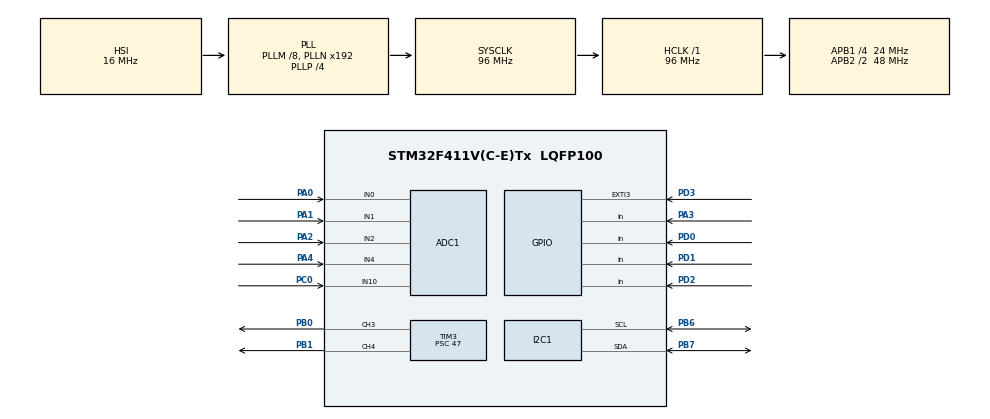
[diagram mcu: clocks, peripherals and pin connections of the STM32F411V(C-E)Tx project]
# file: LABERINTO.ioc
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ADC1.Channel-0\#ChannelRegularConversion=ADC_CHANNEL_1
ADC1.Channel-1\#ChannelRegularConversion=ADC_CHANNEL_2
ADC1.Channel-2\#ChannelRegularConversion=ADC_CHANNEL_4
ADC1.Channel-3\#ChannelRegularConversion=ADC_CHANNEL_10
ADC1.Channel-4\#ChannelRegularConversion=ADC_CHANNEL_0
ADC1.NbrOfConversion=5
ADC1.NbrOfConversionFlag=1
ADC1.Rank-0\#ChannelRegularConversion=1
ADC1.Rank-1\#ChannelRegularConversion=2
ADC1.Rank-2\#ChannelRegularConversion=3
ADC1.Rank-3\#ChannelRegularConversion=4
ADC1.Rank-4\#ChannelRegularConversion=5
ADC1.SamplingTime-0\#ChannelRegularConversion=ADC_SAMPLETIME_84CYCLES
ADC1.SamplingTime-1\#ChannelRegularConversion=ADC_SAMPLETIME_84CYCLES
ADC1.SamplingTime-2\#ChannelRegularConversion=ADC_SAMPLETIME_84CYCLES
ADC1.SamplingTime-3\#ChannelRegularConversion=ADC_SAMPLETIME_84CYCLES
ADC1.SamplingTime-4\#ChannelRegularConversion=ADC_SAMPLETIME_3CYCLES
ADC1.master=1
I2C1.I2C_Mode=I2C_Fast
Mcu.Family=STM32F4
Mcu.Name=STM32F411V(C-E)Tx
Mcu.Package=LQFP100
NVIC.EXTI3_IRQn=true\:0\:0\:false\:false\:true\:true\:true\:true
NVIC.PriorityGroup=NVIC_PRIORITYGROUP_0
PA0-WKUP.Signal=ADCx_IN0
PA1.Signal=ADCx_IN1
PA2.Signal=ADCx_IN2
PA3.Signal=GPIO_Input
PA4.Signal=ADCx_IN4
PB0.Signal=S_TIM3_CH3
PB1.Signal=S_TIM3_CH4
PB6.GPIO_Pu=GPIO_PULLUP
PB6.Mode=I2C
PB6.Signal=I2C1_SCL
PB7.GPIO_Pu=GPIO_PULLUP
PB7.Mode=I2C
PB7.Signal=I2C1_SDA
PC0.Signal=ADCx_IN10
PD0.GPIO_PuPd=GPIO_PULLUP
PD0.Signal=GPIO_Input
PD1.GPIO_PuPd=GPIO_PULLUP
PD1.Signal=GPIO_Input
PD2.GPIO_PuPd=GPIO_PULLUP
PD2.Signal=GPIO_Input
PD3.GPIO_PuPd=GPIO_PULLDOWN
PD3.Signal=GPXTI3
ProjectManager.HeapSize=0x200
ProjectManager.StackSize=0x400
ProjectManager.TargetToolchain=STM32CubeIDE
RCC.48MHZClocksFreq_Value=48000000
RCC.AHBFreq_Value=96000000
RCC.APB1CLKDivider=RCC_HCLK_DIV4
RCC.APB1Freq_Value=24000000
RCC.APB1TimFreq_Value=48000000
RCC.APB2CLKDivider=RCC_HCLK_DIV2
RCC.APB2Freq_Value=48000000
RCC.APB2TimFreq_Value=96000000
RCC.CortexFreq_Value=96000000
RCC.HCLKFreq_Value=96000000
RCC.HSE_VALUE=8000000
RCC.HSI_VALUE=16000000
RCC.LSE_VALUE=32768
RCC.PLLI2SM=5
RCC.PLLI2SN=200
RCC.PLLM=8
RCC.PLLP=RCC_PLLP_DIV4
RCC.PLLQ=8
RCC.SYSCLKFreq_VALUE=96000000
RCC.SYSCLKSource=RCC_SYSCLKSOURCE_PLLCLK
RCC.VCOOutputFreq_Value=384000000
SH.ADCx_IN0.0=ADC1_IN0,IN0
SH.ADCx_IN1.0=ADC1_IN1,IN1
SH.ADCx_IN10.0=ADC1_IN10,IN10
SH.ADCx_IN2.0=ADC1_IN2,IN2
SH.ADCx_IN4.0=ADC1_IN4,IN4
SH.S_TIM3_CH3.0=TIM3_CH3,PWM Generation3 CH3
SH.S_TIM3_CH4.0=TIM3_CH4,PWM Generation4 CH4
TIM3.Channel-PWM\ Generation3\ CH3=TIM_CHANNEL_3
TIM3.Channel-PWM\ Generation4\ CH4=TIM_CHANNEL_4
TIM3.Period=19999
TIM3.Prescaler=47
TIM3.Pulse-PWM\ Generation3\ CH3=0
TIM3.Pulse-PWM\ Generation4\ CH4=500
VP_TIM3_VS_ClockSourceINT.Mode=Internal
board=STM32F411E-DISCO

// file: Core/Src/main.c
/* USER CODE BEGIN Header */
/**
  **************************
  * @file           : main.c
  * @brief          : Main program body
  **************************
  * @attention
  *
  * Copyright (c) 2026 STMicroelectronics.
  * All rights reserved.
  *
  * This software is licensed under terms that can be found in the LICENSE file
  * in the root directory of this software component.
  * If no LICENSE file comes with this software, it is provided AS-IS.
  *
  **************************
  */
/* USER CODE END Header */
#include "main.h"

/* USER CODE BEGIN Includes */
#include "ssd1306.h"
#include "fonts.h"
#include <stdio.h>
/* USER CODE END Includes */

ADC_HandleTypeDef hadc1;

I2C_HandleTypeDef hi2c1;

TIM_HandleTypeDef htim3;

/* USER CODE BEGIN PV */
// --- VARIABLES DE HARDWARE ---
uint32_t val_joyX = 0;
uint32_t val_joyY = 0;
uint32_t val_LDR_Inicio = 0;
uint32_t val_LDR_Fin = 0;
uint32_t val_LDR_Perder = 0;
volatile uint8_t flag_reset = 0; //Para la interrupción

// --- VARIABLES DEL JUEGO ---
// Definimos los nombres de los estados
typedef enum {
    ESTADO_INTRO,       // Pantalla "EL LABERINTO"
    ESTADO_SELECCION,   // Elegir "NORMAL" o "LOCO"
	ESTADO_PREPARACION, // AVISA QUE SE PONGA LA PELOTA Y NO EMPIZA LA CUENTA ATRÁS HASTA QUE LA DETECTE
    ESTADO_CUENTA,      // 3, 2, 1...
    ESTADO_JUGANDO,     // Mover servos y leer sensores
    ESTADO_GANADO,      // Pantalla Win
    ESTADO_PERDIDO      // Pantalla Game Over
} EstadoJuego;

EstadoJuego estadoActual = ESTADO_INTRO; // Empezamos en la intro

// Variables para el menú
int opcionMenu = 0;     // 0 = Normal, 1 = Loco
int modoJuego = 0;      // Guardará lo que hayamos elegido (0=Normal, 1=Loco)
/* USER CODE END PV */

void SystemClock_Config(void);
static void MX_GPIO_Init(void);
static void MX_ADC1_Init(void);
static void MX_I2C1_Init(void);
static void MX_TIM3_Init(void);

/* USER CODE BEGIN 0 */
void HAL_GPIO_EXTI_Callback(uint16_t GPIO_Pin)
{
  if (GPIO_Pin == GPIO_PIN_3) // PD3
  {
    flag_reset = 1;
  }
}

/* USER CODE END 0 */

int main(void)
{

  /* MCU Configuration--------------------------------------------------------*/

  /* Reset of all peripherals, Initializes the Flash interface and the Systick. */
  HAL_Init();

  /* Configure the system clock */
  SystemClock_Config();

  /* Initialize all configured peripherals */
  MX_GPIO_Init();
  MX_ADC1_Init();
  MX_I2C1_Init();
  MX_TIM3_Init();
  /* USER CODE BEGIN 2 */
  /*
  //Se ha metido en el estado de inicio, porque tiene mas sentido
  __HAL_TIM_SET_COMPARE(&htim3, TIM_CHANNEL_3, 1390);
  __HAL_TIM_SET_COMPARE(&htim3, TIM_CHANNEL_4, 1220);
  HAL_Delay(100);*/
  HAL_TIM_PWM_Start(&htim3, TIM_CHANNEL_3); // Arranca Servo X
  HAL_TIM_PWM_Start(&htim3, TIM_CHANNEL_4); // Arranca Servo Y
  HAL_ADC_Start(&hadc1);

    // Iniciar Pantalla
  ssd1306_Init();
  ssd1306_Fill(Black);
  ssd1306_UpdateScreen();

  /* USER CODE END 2 */

  /* Infinite loop */
  while (1)
  {

    /* USER CODE BEGIN 3 */
	  //RESETEO DEL PROGRAMA
	  if (flag_reset)
	  	  {
	 	  	  flag_reset = 0;
	 	  	  estadoActual = ESTADO_INTRO;
	 	  	  opcionMenu = 0;
	 	  	  modoJuego = 0;
	 	  	  HAL_Delay(500);
	 	  	  continue;
	 	  }
	  switch (estadoActual) {

	      // ============================================================
	      // 1. PANTALLA DE TÍTULO (DISEÑO FINAL)
	      // ============================================================
	      case ESTADO_INTRO:
	           ssd1306_Fill(Black);

	           //Centrar motores
	           __HAL_TIM_SET_COMPARE(&htim3, TIM_CHANNEL_3, 1390);
	           __HAL_TIM_SET_COMPARE(&htim3, TIM_CHANNEL_4, 1220);
	           HAL_Delay(100);

	           // "EL" centrado arriba
	           ssd1306_SetCursor(50, 5);
	           ssd1306_WriteString("EL", Font_11x18, White);

	           // "LABERINTO" centrado en medio
	           ssd1306_SetCursor(15, 25);
	           ssd1306_WriteString("LABERINTO", Font_11x18, White);

	           // Instrucción abajo
	           ssd1306_SetCursor(30, 50);
	           ssd1306_WriteString("dale a OK", Font_7x10, White);

	           ssd1306_UpdateScreen();

	           // Esperar al Botón A (PD0) para empezar
	           if (HAL_GPIO_ReadPin(GPIOD, GPIO_PIN_0) == GPIO_PIN_RESET) {
	                estadoActual = ESTADO_SELECCION;
	                HAL_Delay(500); // Pequeña espera para no pulsar dos veces sin querer
	           }
	           break;

		  // ============================================================
		  // 2. SELECCIÓN DE NIVEL (Normal vs Loco)
		  // ============================================================
		  case ESTADO_SELECCION:
			  ssd1306_Fill(Black);
			  ssd1306_SetCursor(20, 5);
			  ssd1306_WriteString("ELIGE MODO:", Font_7x10, White);

			  ssd1306_SetCursor(30, 25);
			  ssd1306_WriteString("NIVEL NORMAL", Font_7x10, White);

			  ssd1306_SetCursor(30, 45);
			  ssd1306_WriteString("NIVEL LOOOCO", Font_7x10, White);

			  // Dibujar la flecha >
			  if (opcionMenu == 0) {
				  ssd1306_SetCursor(15, 25);
				  ssd1306_WriteString(">", Font_7x10, White);
			  } else {
				  ssd1306_SetCursor(15, 45);
				  ssd1306_WriteString(">", Font_7x10, White);
			  }
			  ssd1306_UpdateScreen();

			  // Botones B (Arriba) y C (Abajo)
			  if (HAL_GPIO_ReadPin(GPIOD, GPIO_PIN_1) == GPIO_PIN_RESET) opcionMenu = 0; // Normal
			  if (HAL_GPIO_ReadPin(GPIOD, GPIO_PIN_2) == GPIO_PIN_RESET) opcionMenu = 1; // Loco

			  // Botón A (Confirmar)
			  if (HAL_GPIO_ReadPin(GPIOD, GPIO_PIN_0) == GPIO_PIN_RESET) {
				  modoJuego = opcionMenu; // Guardamos la elección (0 o 1)
				  estadoActual = ESTADO_PREPARACION;
				  HAL_Delay(300);
			  }
			  break;

     	 // ============================================================
		 // 3.1. PREPARACIÓN
		 // ============================================================

		  case ESTADO_PREPARACION:
			  ssd1306_Fill(Black);
			  ssd1306_SetCursor(30, 5);
			  ssd1306_WriteString("PONER", Font_16x26, White);
			  ssd1306_UpdateScreen();
			  HAL_Delay(800);

			  ssd1306_Fill(Black);
			  ssd1306_SetCursor(15, 25);
			  ssd1306_WriteString("PELOTA", Font_16x26, White);
			  ssd1306_UpdateScreen();
			  HAL_Delay(800);
			  HAL_ADC_Start(&hadc1);
			  HAL_ADC_PollForConversion(&hadc1, 10);
			  HAL_ADC_PollForConversion(&hadc1, 10);

			  if (HAL_ADC_PollForConversion(&hadc1, 100) == HAL_OK) val_LDR_Inicio = HAL_ADC_GetValue(&hadc1);
			  HAL_ADC_Stop(&hadc1);
			  if(val_LDR_Inicio  < 200){
			  estadoActual=ESTADO_CUENTA;
			  HAL_Delay(3000);
			  }
			  HAL_ADC_Stop(&hadc1);
			  break;
		  // ============================================================
		  // 3. CUENTA ATRÁS DRAMÁTICA
		  // ============================================================
		  case ESTADO_CUENTA:
			  ssd1306_Fill(Black);
			  ssd1306_SetCursor(40, 20);
			  ssd1306_WriteString("3...", Font_16x26, White);
			  ssd1306_UpdateScreen();
			  HAL_Delay(800);

			  ssd1306_Fill(Black);
			  ssd1306_SetCursor(40, 20);
			  ssd1306_WriteString("2...", Font_16x26, White);
			  ssd1306_UpdateScreen();
			  HAL_Delay(800);

			  ssd1306_Fill(Black);
			  ssd1306_SetCursor(40, 20);
			  ssd1306_WriteString("1...", Font_16x26, White);
			  ssd1306_UpdateScreen();
			  HAL_Delay(800);

			  ssd1306_Fill(Black);
			  ssd1306_SetCursor(50, 5);
			  ssd1306_WriteString("NO TE", Font_11x18, White);
			  ssd1306_SetCursor(15, 25);
			  ssd1306_WriteString("CAIGAAAAS!!!", Font_11x18, White);
			  ssd1306_UpdateScreen();
			  HAL_Delay(1000);

			  estadoActual = ESTADO_JUGANDO;
			  break;

		  /// ============================================================
		  // 4. JUEGO REAL (LÓGICA < 200)
		  // ============================================================
		  case ESTADO_JUGANDO:
			  // --- 1. LEER LOS 5 CANALES DEL ADC EN ORDEN ---
			  HAL_ADC_Start(&hadc1);
			  // Leemos uno a uno
			  if (HAL_ADC_PollForConversion(&hadc1, 100) == HAL_OK) val_joyX = HAL_ADC_GetValue(&hadc1);
			  if (HAL_ADC_PollForConversion(&hadc1, 100) == HAL_OK) val_joyY = HAL_ADC_GetValue(&hadc1);
			  if (HAL_ADC_PollForConversion(&hadc1, 100) == HAL_OK) val_LDR_Inicio = HAL_ADC_GetValue(&hadc1);
			  if (HAL_ADC_PollForConversion(&hadc1, 100) == HAL_OK) val_LDR_Fin = HAL_ADC_GetValue(&hadc1);
			  if (HAL_ADC_PollForConversion(&hadc1, 100) == HAL_OK) val_LDR_Perder = HAL_ADC_GetValue(&hadc1);
			  HAL_ADC_Stop(&hadc1);

			  // --- 2. COMPROBAR VICTORIA / DERROTA ---

			  if (val_LDR_Fin < 200) {
				  estadoActual = ESTADO_GANADO;
			  }

			  if (val_LDR_Perder < 200) {
				  estadoActual = ESTADO_PERDIDO;
			  }

			  // --- 3. MOVER SERVOS (NORMAL vs LOCO) ---
			  if (modoJuego == 1) {
				  // MODO LOCO: Invertimos matemáticas (4095 - valor)
				  val_joyX = 4095 - val_joyX;
				  val_joyY = 4095 - val_joyY;
			  }

			  // Movimiento de los servos segun el joystick
			  uint32_t pulsoX = 1120 + (val_joyX * 390) / 4095;
			  uint32_t pulsoY = 1100 + ((4095-val_joyY) * 290) / 4095;

			  __HAL_TIM_SET_COMPARE(&htim3, TIM_CHANNEL_3, pulsoX);
			  __HAL_TIM_SET_COMPARE(&htim3, TIM_CHANNEL_4, pulsoY);

			  break;

		  // ============================================================
		  // 5. FIN DEL JUEGO
		  // ============================================================
		  case ESTADO_GANADO:
			  ssd1306_Fill(Black);
			  ssd1306_SetCursor(10, 10);
			  ssd1306_WriteString("VICTORIA!!", Font_11x18, White);

			  ssd1306_SetCursor(30, 35);
			  ssd1306_WriteString("Pulsa OK", Font_7x10, White);
			  ssd1306_SetCursor(25, 48);
			  ssd1306_WriteString("para Menu", Font_7x10, White);
			  ssd1306_UpdateScreen();

			  // Botón A para volver
			  if (HAL_GPIO_ReadPin(GPIOD, GPIO_PIN_0) == GPIO_PIN_RESET) {
				  estadoActual = ESTADO_INTRO;
				  HAL_Delay(500);
			  }
			  break;

		  case ESTADO_PERDIDO:
			  ssd1306_Fill(Black);
			  ssd1306_SetCursor(15, 10);
			  ssd1306_WriteString("GAME OVER", Font_11x18, White);

			  ssd1306_SetCursor(15, 35);
			  ssd1306_WriteString("Pulsa OK", Font_7x10, White);
			  ssd1306_SetCursor(25, 48);
			  ssd1306_WriteString("para Menu", Font_7x10, White);
			  ssd1306_UpdateScreen();

			  // Botón A para volver
			  if (HAL_GPIO_ReadPin(GPIOD, GPIO_PIN_0) == GPIO_PIN_RESET) {
				  estadoActual = ESTADO_INTRO;
				  HAL_Delay(500);
			  }
			  break;
	  }
  }
  /* USER CODE END 3 */
}

void SystemClock_Config(void)
{
  RCC_OscInitTypeDef RCC_OscInitStruct = {0};
  RCC_ClkInitTypeDef RCC_ClkInitStruct = {0};

  /** Configure the main internal regulator output voltage
  */
  __HAL_RCC_PWR_CLK_ENABLE();
  __HAL_PWR_VOLTAGESCALING_CONFIG(PWR_REGULATOR_VOLTAGE_SCALE1);

  /** Initializes the RCC Oscillators according to the specified parameters
  * in the RCC_OscInitTypeDef structure.
  */
  RCC_OscInitStruct.OscillatorType = RCC_OSCILLATORTYPE_HSI;
  RCC_OscInitStruct.HSIState = RCC_HSI_ON;
  RCC_OscInitStruct.HSICalibrationValue = RCC_HSICALIBRATION_DEFAULT;
  RCC_OscInitStruct.PLL.PLLState = RCC_PLL_ON;
  RCC_OscInitStruct.PLL.PLLSource = RCC_PLLSOURCE_HSI;
  RCC_OscInitStruct.PLL.PLLM = 8;
  RCC_OscInitStruct.PLL.PLLN = 192;
  RCC_OscInitStruct.PLL.PLLP = RCC_PLLP_DIV4;
  RCC_OscInitStruct.PLL.PLLQ = 8;
  if (HAL_RCC_OscConfig(&RCC_OscInitStruct) != HAL_OK)
  {
    Error_Handler();
  }

  /** Initializes the CPU, AHB and APB buses clocks
  */
  RCC_ClkInitStruct.ClockType = RCC_CLOCKTYPE_HCLK|RCC_CLOCKTYPE_SYSCLK
                              |RCC_CLOCKTYPE_PCLK1|RCC_CLOCKTYPE_PCLK2;
  RCC_ClkInitStruct.SYSCLKSource = RCC_SYSCLKSOURCE_PLLCLK;
  RCC_ClkInitStruct.AHBCLKDivider = RCC_SYSCLK_DIV1;
  RCC_ClkInitStruct.APB1CLKDivider = RCC_HCLK_DIV4;
  RCC_ClkInitStruct.APB2CLKDivider = RCC_HCLK_DIV2;

  if (HAL_RCC_ClockConfig(&RCC_ClkInitStruct, FLASH_LATENCY_3) != HAL_OK)
  {
    Error_Handler();
  }
}

static void MX_ADC1_Init(void)
{

  ADC_ChannelConfTypeDef sConfig = {0};

  /** Configure the global features of the ADC (Clock, Resolution, Data Alignment and number of conversion)
  */
  hadc1.Instance = ADC1;
  hadc1.Init.ClockPrescaler = ADC_CLOCK_SYNC_PCLK_DIV2;
  hadc1.Init.Resolution = ADC_RESOLUTION_12B;
  hadc1.Init.ScanConvMode = ENABLE;
  hadc1.Init.ContinuousConvMode = DISABLE;
  hadc1.Init.DiscontinuousConvMode = DISABLE;
  hadc1.Init.ExternalTrigConvEdge = ADC_EXTERNALTRIGCONVEDGE_NONE;
  hadc1.Init.ExternalTrigConv = ADC_SOFTWARE_START;
  hadc1.Init.DataAlign = ADC_DATAALIGN_RIGHT;
  hadc1.Init.NbrOfConversion = 5;
  hadc1.Init.DMAContinuousRequests = DISABLE;
  hadc1.Init.EOCSelection = ADC_EOC_SINGLE_CONV;
  if (HAL_ADC_Init(&hadc1) != HAL_OK)
  {
    Error_Handler();
  }

  /** Configure for the selected ADC regular channel its corresponding rank in the sequencer and its sample time.
  */
  sConfig.Channel = ADC_CHANNEL_1;
  sConfig.Rank = 1;
  sConfig.SamplingTime = ADC_SAMPLETIME_84CYCLES;
  if (HAL_ADC_ConfigChannel(&hadc1, &sConfig) != HAL_OK)
  {
    Error_Handler();
  }

  /** Configure for the selected ADC regular channel its corresponding rank in the sequencer and its sample time.
  */
  sConfig.Channel = ADC_CHANNEL_2;
  sConfig.Rank = 2;
  if (HAL_ADC_ConfigChannel(&hadc1, &sConfig) != HAL_OK)
  {
    Error_Handler();
  }

  /** Configure for the selected ADC regular channel its corresponding rank in the sequencer and its sample time.
  */
  sConfig.Channel = ADC_CHANNEL_4;
  sConfig.Rank = 3;
  if (HAL_ADC_ConfigChannel(&hadc1, &sConfig) != HAL_OK)
  {
    Error_Handler();
  }

  /** Configure for the selected ADC regular channel its corresponding rank in the sequencer and its sample time.
  */
  sConfig.Channel = ADC_CHANNEL_10;
  sConfig.Rank = 4;
  if (HAL_ADC_ConfigChannel(&hadc1, &sConfig) != HAL_OK)
  {
    Error_Handler();
  }

  /** Configure for the selected ADC regular channel its corresponding rank in the sequencer and its sample time.
  */
  sConfig.Channel = ADC_CHANNEL_0;
  sConfig.Rank = 5;
  sConfig.SamplingTime = ADC_SAMPLETIME_3CYCLES;
  if (HAL_ADC_ConfigChannel(&hadc1, &sConfig) != HAL_OK)
  {
    Error_Handler();
  }
  /* USER CODE BEGIN ADC1_Init 2 */
  sConfig.Channel = ADC_CHANNEL_0;
  sConfig.Rank = 5;
  sConfig.SamplingTime = ADC_SAMPLETIME_84CYCLES;
  if (HAL_ADC_ConfigChannel(&hadc1, &sConfig) != HAL_OK)
  {
    Error_Handler();
  }
  /* USER CODE END ADC1_Init 2 */

}

static void MX_I2C1_Init(void)
{

  hi2c1.Instance = I2C1;
  hi2c1.Init.ClockSpeed = 400000;
  hi2c1.Init.DutyCycle = I2C_DUTYCYCLE_2;
  hi2c1.Init.OwnAddress1 = 0;
  hi2c1.Init.AddressingMode = I2C_ADDRESSINGMODE_7BIT;
  hi2c1.Init.DualAddressMode = I2C_DUALADDRESS_DISABLE;
  hi2c1.Init.OwnAddress2 = 0;
  hi2c1.Init.GeneralCallMode = I2C_GENERALCALL_DISABLE;
  hi2c1.Init.NoStretchMode = I2C_NOSTRETCH_DISABLE;
  if (HAL_I2C_Init(&hi2c1) != HAL_OK)
  {
    Error_Handler();
  }

}

static void MX_TIM3_Init(void)
{

  TIM_ClockConfigTypeDef sClockSourceConfig = {0};
  TIM_MasterConfigTypeDef sMasterConfig = {0};
  TIM_OC_InitTypeDef sConfigOC = {0};

  htim3.Instance = TIM3;
  htim3.Init.Prescaler = 47;
  htim3.Init.CounterMode = TIM_COUNTERMODE_UP;
  htim3.Init.Period = 19999;
  htim3.Init.ClockDivision = TIM_CLOCKDIVISION_DIV1;
  htim3.Init.AutoReloadPreload = TIM_AUTORELOAD_PRELOAD_DISABLE;
  if (HAL_TIM_Base_Init(&htim3) != HAL_OK)
  {
    Error_Handler();
  }
  sClockSourceConfig.ClockSource = TIM_CLOCKSOURCE_INTERNAL;
  if (HAL_TIM_ConfigClockSource(&htim3, &sClockSourceConfig) != HAL_OK)
  {
    Error_Handler();
  }
  if (HAL_TIM_PWM_Init(&htim3) != HAL_OK)
  {
    Error_Handler();
  }
  sMasterConfig.MasterOutputTrigger = TIM_TRGO_RESET;
  sMasterConfig.MasterSlaveMode = TIM_MASTERSLAVEMODE_DISABLE;
  if (HAL_TIMEx_MasterConfigSynchronization(&htim3, &sMasterConfig) != HAL_OK)
  {
    Error_Handler();
  }
  sConfigOC.OCMode = TIM_OCMODE_PWM1;
  sConfigOC.Pulse = 0;
  sConfigOC.OCPolarity = TIM_OCPOLARITY_HIGH;
  sConfigOC.OCFastMode = TIM_OCFAST_DISABLE;
  if (HAL_TIM_PWM_ConfigChannel(&htim3, &sConfigOC, TIM_CHANNEL_3) != HAL_OK)
  {
    Error_Handler();
  }
  sConfigOC.Pulse = 500;
  if (HAL_TIM_PWM_ConfigChannel(&htim3, &sConfigOC, TIM_CHANNEL_4) != HAL_OK)
  {
    Error_Handler();
  }
  HAL_TIM_MspPostInit(&htim3);

}

static void MX_GPIO_Init(void)
{
  GPIO_InitTypeDef GPIO_InitStruct = {0};

  /* GPIO Ports Clock Enable */
  __HAL_RCC_GPIOC_CLK_ENABLE();
  __HAL_RCC_GPIOA_CLK_ENABLE();
  __HAL_RCC_GPIOB_CLK_ENABLE();
  __HAL_RCC_GPIOD_CLK_ENABLE();

  /*Configure GPIO pin : PA3 */
  GPIO_InitStruct.Pin = GPIO_PIN_3;
  GPIO_InitStruct.Mode = GPIO_MODE_INPUT;
  GPIO_InitStruct.Pull = GPIO_NOPULL;
  HAL_GPIO_Init(GPIOA, &GPIO_InitStruct);

  /*Configure GPIO pins : PD0 PD1 PD2 */
  GPIO_InitStruct.Pin = GPIO_PIN_0|GPIO_PIN_1|GPIO_PIN_2;
  GPIO_InitStruct.Mode = GPIO_MODE_INPUT;
  GPIO_InitStruct.Pull = GPIO_PULLUP;
  HAL_GPIO_Init(GPIOD, &GPIO_InitStruct);

  /*Configure GPIO pin : PD3 */
  GPIO_InitStruct.Pin = GPIO_PIN_3;
  GPIO_InitStruct.Mode = GPIO_MODE_IT_RISING;
  GPIO_InitStruct.Pull = GPIO_PULLDOWN;
  HAL_GPIO_Init(GPIOD, &GPIO_InitStruct);

  /* EXTI interrupt init*/
  HAL_NVIC_SetPriority(EXTI3_IRQn, 0, 0);
  HAL_NVIC_EnableIRQ(EXTI3_IRQn);

}

void Error_Handler(void)
{
  __disable_irq();
  while (1)
  {
  }
}
